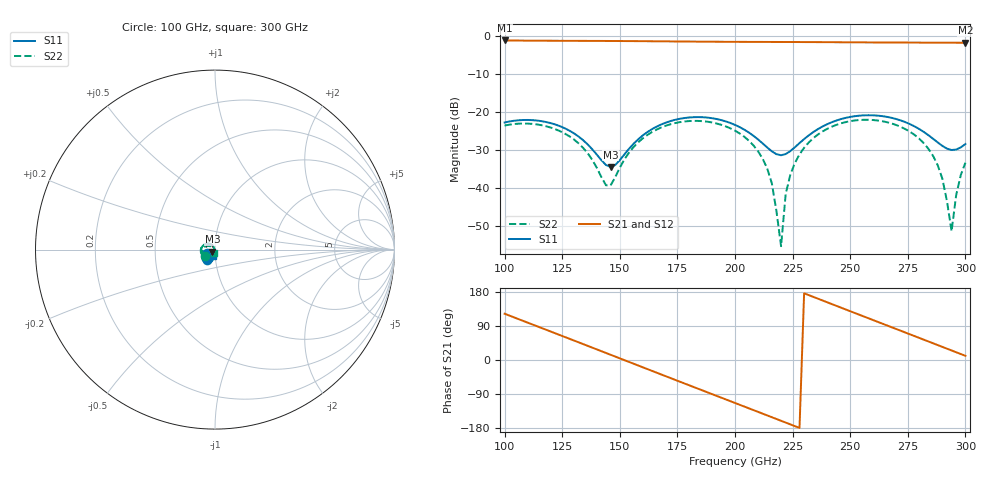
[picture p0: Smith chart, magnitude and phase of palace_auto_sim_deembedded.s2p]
! Created with skrf 1.11.0 (http://scikit-rf.org).
# GHz S DB R 50.0
!freq dBS11 angS11 dBS21 angS21 dBS12 angS12 dBS22 angS22
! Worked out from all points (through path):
!   101 points, 100 GHz to 300 GHz, reference 50 ohm
!   highest |S21| = -1.04 dB at 100 GHz (marker M1); lowest = -1.7 dB at 300 GHz (marker M2)
!   group delay of S21, straight-line fit = 6.54 ps
!   lowest |S11| = -34.4 dB at 146 GHz (marker M3), VSWR 1.04, Z = 48.5 - j1.18 ohm
!   |S11| at or under -10 dB: start of sweep to end of sweep
!   |S22| runs from -55.2 to -21.9 dB; largest |S21 - S12| = 9.8e-14
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100  -22.65 -125.3  -1.04 122.1  -1.04 122.1  -23.46 -146.5
116  -22.29 -155.0  -1.11 84.5  -1.11 84.5  -23.36 178.7
134  -27.27 -179.4  -1.15 42.2  -1.15 42.2  -29.27 146.2
146  -34.37 -140.6  -1.18 13.8  -1.18 13.8  -39.22 -153.8
156  -28.23 -100.7  -1.22 -9.8  -1.22 -9.8  -29.10 -121.0
168  -23.16 -111.3  -1.27 -38.2  -1.27 -38.2  -23.96 -141.6
184  -21.23 -137.8  -1.35 -75.9  -1.35 -75.9  -22.23 -177.2
200  -23.27 -162.3  -1.41 -113.4  -1.41 -113.4  -24.80 145.2
208  -26.15 -167.8  -1.43 -132.2  -1.43 -132.2  -28.67 126.0
214  -29.23 -161.1  -1.44 -146.3  -1.44 -146.3  -34.80 111.7
216  -30.24 -154.7  -1.44 -151.0  -1.44 -151.0  -38.68 107.1
220  -31.27 -134.8  -1.45 -160.4  -1.45 -160.4  -55.22 -86.6
222  -30.96 -124.0  -1.45 -165.1  -1.45 -165.1  -41.48 -88.7
224  -30.19 -115.0  -1.45 -169.9  -1.45 -169.9  -36.43 -93.2
234  -25.17 -102.0  -1.48 166.5  -1.48 166.5  -26.77 -117.0
252  -20.99 -122.6  -1.54 124.1  -1.54 124.1  -22.11 -159.9
268  -21.42 -146.2  -1.59 86.4  -1.59 86.4  -22.91 162.4
286  -26.94 -155.8  -1.62 44.1  -1.62 44.1  -31.47 123.1
290  -28.81 -146.8  -1.63 34.6  -1.63 34.6  -37.44 119.2
294  -29.89 -129.7  -1.64 25.2  -1.64 25.2  -51.30 -156.5
296  -29.77 -119.8  -1.65 20.5  -1.65 20.5  -41.76 -105.3
300  -28.34 -104.0  -1.66 11.0  -1.66 11.0  -33.23 -103.1
